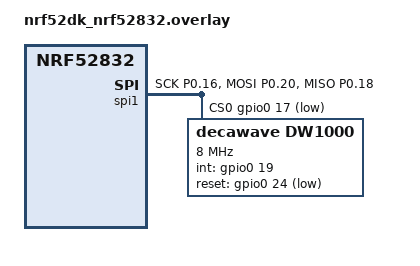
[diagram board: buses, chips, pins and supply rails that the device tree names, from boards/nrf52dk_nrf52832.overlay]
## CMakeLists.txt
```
cmake_minimum_required(VERSION 3.20.0)

# The root Kconfig (uwb_tag_firmware/Kconfig) is scoped to APPLICATION_SOURCE_DIR.
# For samples, APPLICATION_SOURCE_DIR is this directory, not the repo root, so we
# provide our own Kconfig (samples/dw1000_devid/Kconfig) that sources the dw1000
# Kconfig with the correct relative path.

find_package(Zephyr REQUIRED HINTS $ENV{ZEPHYR_BASE})
project(dw1000_devid_sample VERSION 0.1.0)

target_sources(app PRIVATE src/main.c)

# Pull in the vendored DW1000 driver (gated by CONFIG_DW1000 in prj.conf).
# The path is relative to this CMakeLists.txt so it works from any workspace root.
add_subdirectory(${CMAKE_CURRENT_SOURCE_DIR}/../../drivers/dw1000 dw1000)
```

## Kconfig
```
# samples/dw1000_devid/Kconfig
#
# Kconfig root for the dw1000_devid sample.
#
# Zephyr's build system uses APPLICATION_SOURCE_DIR/Kconfig as the Kconfig root
# when it exists.  Because samples live outside the repo root, they need their
# own Kconfig to source the DW1000 driver config at the correct relative path.

source "$(ZEPHYR_BASE)/Kconfig"
source "$(APPLICATION_SOURCE_DIR)/../../drivers/dw1000/Kconfig"
```

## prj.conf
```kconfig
# samples/dw1000_devid/prj.conf
# DW1000 device-ID read sample — project configuration

# ---------------------------------------------------------------------------
# DW1000 UWB transceiver driver
# ---------------------------------------------------------------------------
CONFIG_DW1000=y
CONFIG_SPI=y
CONFIG_GPIO=y

# ---------------------------------------------------------------------------
# Logging
# ---------------------------------------------------------------------------
CONFIG_LOG=y
CONFIG_LOG_DEFAULT_LEVEL=3
CONFIG_LOG_BACKEND_RTT=y
CONFIG_USE_SEGGER_RTT=y
CONFIG_LOG_BACKEND_UART=y
CONFIG_BOOT_BANNER=y

# ---------------------------------------------------------------------------
# Console
# ---------------------------------------------------------------------------
CONFIG_SERIAL=y
CONFIG_UART_CONSOLE=y

CONFIG_SYSTEM_WORKQUEUE_STACK_SIZE=2048
```

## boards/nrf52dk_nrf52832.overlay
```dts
/*
 * DWM1001 module overlay for the dw1000_devid sample.
 *
 * Identical to the main application overlay (boards/nrf52dk_nrf52832.overlay).
 * Duplicated here because each Zephyr application sources its own board overlay
 * from its own boards/ directory.
 *
 * See the main overlay for full documentation of pin assignments and SPI driver
 * choice (nordic,nrf-spi vs nrf-spim — PAN-58 avoidance).
 */

#include <zephyr/dt-bindings/gpio/gpio.h>

&pinctrl {
	spi1_default: spi1_default {
		group1 {
			psels = <NRF_PSEL(SPIM_SCK,  0, 16)>,
				<NRF_PSEL(SPIM_MOSI, 0, 20)>,
				<NRF_PSEL(SPIM_MISO, 0, 18)>;
		};
	};

	spi1_sleep: spi1_sleep {
		group1 {
			psels = <NRF_PSEL(SPIM_SCK,  0, 16)>,
				<NRF_PSEL(SPIM_MOSI, 0, 20)>,
				<NRF_PSEL(SPIM_MISO, 0, 18)>;
			low-power-enable;
		};
	};
};

&spi1 {
	compatible = "nordic,nrf-spi";
	status = "okay";
	pinctrl-0 = <&spi1_default>;
	pinctrl-1 = <&spi1_sleep>;
	pinctrl-names = "default", "sleep";
	cs-gpios = <&gpio0 17 GPIO_ACTIVE_LOW>;

	dw1000: dw1000@0 {
		compatible = "decawave,dw1000";
		reg = <0>;
		spi-max-frequency = <8000000>;
		int-gpios   = <&gpio0 19 GPIO_ACTIVE_HIGH>;
		reset-gpios = <&gpio0 24 GPIO_ACTIVE_LOW>;
	};
};
```

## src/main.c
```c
/*! ----------------------------------------------------------------------------
 * @file    main.c
 * @brief   DW1000 device-ID bring-up sample (UWB-94)
 *
 * Reads the DW1000 DEV_ID register after reset and logs PASS when it equals
 * the expected value (0xDECA0130).  This is the minimal bring-up verification
 * before any UWB TX/RX is configured.
 *
 * Sequence:
 *   1. dw1000_port_init()       — configure SPI, GPIOs, work queue item
 *   2. reset_DW1000()           — assert then release hardware reset
 *   3. port_set_dw1000_slowrate() — set SPI < 3 MHz (DW1000 requirement)
 *   4. dwt_initialise()         — verify device ID internally, load ucode
 *   5. port_set_dw1000_fastrate() — raise SPI to 8 MHz
 *   6. dwt_readdevid()          — read DEV_ID register (0x00), 4 bytes
 *   7. Log PASS / FAIL
 *
 * NOTE: This sample requires an on-target run with a real DWM1001 module.
 *       For headless CI verification see tests/dw1000_devid/ (ztest, unit_testing).
 *
 * @attention
 * SPDX-License-Identifier: MIT
 * Copyright (c) 2024 Fundamentals UWB project contributors.
 */

#include <zephyr/kernel.h>
#include <zephyr/logging/log.h>

#include "deca_device_api.h"
#include "deca_port.h"

LOG_MODULE_REGISTER(dw1000_devid, LOG_LEVEL_DBG);

int main(void)
{
	int ret;
	uint32 devid;

	LOG_INF("DW1000 device-ID bring-up sample starting");

	/* 1. Initialise port layer (SPI config, GPIOs, deferred ISR work item). */
	ret = dw1000_port_init();
	if (ret < 0) {
		LOG_ERR("dw1000_port_init failed: %d", ret);
		return ret;
	}

	/* 2. Hardware reset — pulse RESET low then release. */
	reset_DW1000();

	/* 3. Switch to slow SPI rate (< 3 MHz) before dwt_initialise(). */
	port_set_dw1000_slowrate();

	/* 4. Initialise the DW1000 driver.
	 *    DWT_LOADNONE: skip LDE microcode upload — sufficient for devid read.
	 *    This call internally reads DEV_ID and returns DWT_ERROR if it does not
	 *    match 0xDECA0130 (any NRFX SPI misconfiguration surfaces here). */
	ret = dwt_initialise(DWT_LOADNONE);
	if (ret != DWT_SUCCESS) {
		LOG_ERR("dwt_initialise failed (%d) — check SPI wiring and slow rate", ret);
		return -EIO;
	}

	/* 5. Raise SPI to fast rate now that initialisation is complete. */
	port_set_dw1000_fastrate();

	/* 6. Read and verify the device ID directly. */
	devid = dwt_readdevid();

	if (devid == DWT_DEVICE_ID) {
		LOG_INF("PASS: DW1000 DEV_ID = 0x%08X (expected 0x%08X)",
			devid, DWT_DEVICE_ID);
	} else {
		LOG_ERR("FAIL: DW1000 DEV_ID = 0x%08X (expected 0x%08X)",
			devid, DWT_DEVICE_ID);
	}

	/* Idle — the sample has no further work to do. */
	while (1) {
		k_sleep(K_MSEC(5000));
		LOG_DBG("Heartbeat — DEV_ID last read: 0x%08X", devid);
	}

	return 0;
}
```
